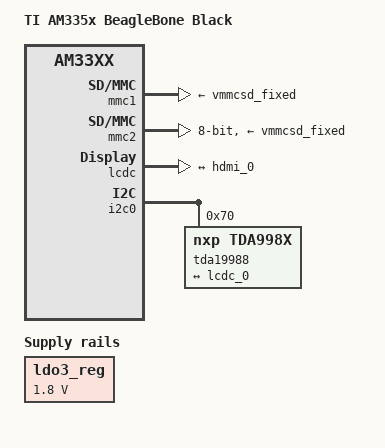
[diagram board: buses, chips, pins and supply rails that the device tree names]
/*
 * Copyright (C) 2012 Texas Instruments Incorporated - http://www.ti.com/
 *
 * This program is free software; you can redistribute it and/or modify
 * it under the terms of the GNU General Public License version 2 as
 * published by the Free Software Foundation.
 */
/dts-v1/;

#include "am33xx.dtsi"
#include "am335x-bone-common.dtsi"

/ {
	model = "TI AM335x BeagleBone Black";
	compatible = "ti,am335x-bone-black", "ti,am335x-bone", "ti,am33xx";
};

&ldo3_reg {
	regulator-min-microvolt = <1800000>;
	regulator-max-microvolt = <1800000>;
	regulator-always-on;
};

&mmc1 {
	vmmc-supply = <&vmmcsd_fixed>;
};

&mmc2 {
	vmmc-supply = <&vmmcsd_fixed>;
	pinctrl-names = "default";
	pinctrl-0 = <&emmc_pins>;
	bus-width = <8>;
	status = "okay";
};

&am33xx_pinmux {
	nxp_hdmi_bonelt_pins: nxp_hdmi_bonelt_pins {
		pinctrl-single,pins = <
			0x1b0 (PIN_OUTPUT_PULLDOWN | MUX_MODE3)	/* xdma_event_intr0 */
			0xa0 (PIN_OUTPUT | MUX_MODE0)		/* lcd_data0.lcd_data0 */
			0xa4 (PIN_OUTPUT | MUX_MODE0)		/* lcd_data1.lcd_data1 */
			0xa8 (PIN_OUTPUT | MUX_MODE0)		/* lcd_data2.lcd_data2 */
			0xac (PIN_OUTPUT | MUX_MODE0)		/* lcd_data3.lcd_data3 */
			0xb0 (PIN_OUTPUT | MUX_MODE0)		/* lcd_data4.lcd_data4 */
			0xb4 (PIN_OUTPUT | MUX_MODE0)		/* lcd_data5.lcd_data5 */
			0xb8 (PIN_OUTPUT | MUX_MODE0)		/* lcd_data6.lcd_data6 */
			0xbc (PIN_OUTPUT | MUX_MODE0)		/* lcd_data7.lcd_data7 */
			0xc0 (PIN_OUTPUT | MUX_MODE0)		/* lcd_data8.lcd_data8 */
			0xc4 (PIN_OUTPUT | MUX_MODE0)		/* lcd_data9.lcd_data9 */
			0xc8 (PIN_OUTPUT | MUX_MODE0)		/* lcd_data10.lcd_data10 */
			0xcc (PIN_OUTPUT | MUX_MODE0)		/* lcd_data11.lcd_data11 */
			0xd0 (PIN_OUTPUT | MUX_MODE0)		/* lcd_data12.lcd_data12 */
			0xd4 (PIN_OUTPUT | MUX_MODE0)		/* lcd_data13.lcd_data13 */
			0xd8 (PIN_OUTPUT | MUX_MODE0)		/* lcd_data14.lcd_data14 */
			0xdc (PIN_OUTPUT | MUX_MODE0)		/* lcd_data15.lcd_data15 */
			0xe0 (PIN_OUTPUT_PULLDOWN | MUX_MODE0)	/* lcd_vsync.lcd_vsync */
			0xe4 (PIN_OUTPUT_PULLDOWN | MUX_MODE0)	/* lcd_hsync.lcd_hsync */
			0xe8 (PIN_OUTPUT_PULLDOWN | MUX_MODE0)	/* lcd_pclk.lcd_pclk */
			0xec (PIN_OUTPUT_PULLDOWN | MUX_MODE0)	/* lcd_ac_bias_en.lcd_ac_bias_en */
		>;
	};
	nxp_hdmi_bonelt_off_pins: nxp_hdmi_bonelt_off_pins {
		pinctrl-single,pins = <
			0x1b0 (PIN_OUTPUT_PULLDOWN | MUX_MODE3)	/* xdma_event_intr0 */
		>;
	};
};

&lcdc {
	status = "okay";
	port {
		lcdc_0: endpoint@0 {
			remote-endpoint = <&hdmi_0>;
		};
	};
};

&i2c0 {
	tda19988 {
		compatible = "nxp,tda998x";
		reg = <0x70>;
		pinctrl-names = "default", "off";
		pinctrl-0 = <&nxp_hdmi_bonelt_pins>;
		pinctrl-1 = <&nxp_hdmi_bonelt_off_pins>;

		port {
			hdmi_0: endpoint@0 {
				remote-endpoint = <&lcdc_0>;
			};
		};
	};
};

&rtc {
	system-power-controller;
};
